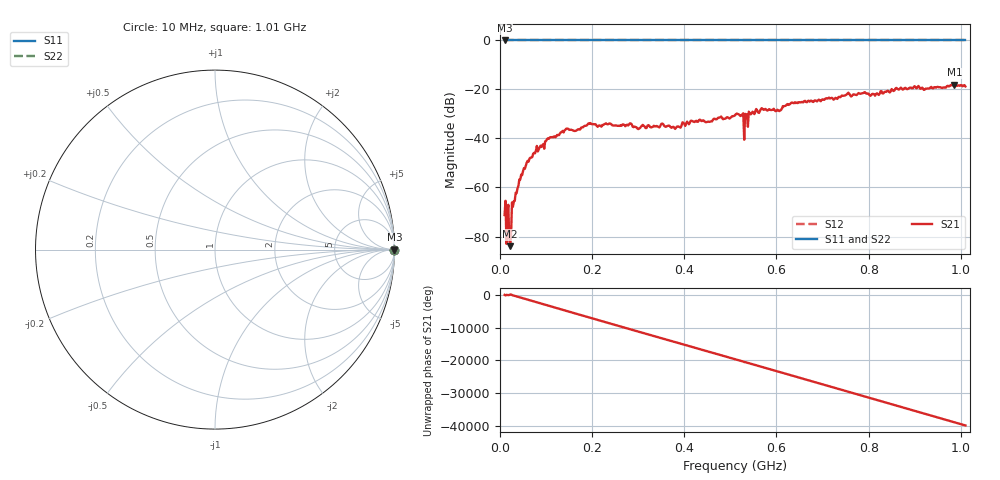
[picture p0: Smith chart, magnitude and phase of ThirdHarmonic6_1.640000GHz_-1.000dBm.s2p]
! 8/16/2025 7:37:16 PM
! C:\ANRITSUVNA\TEMP\TEMP.S2P
! CHANNEL.1
! TR.MEASUREMENT
! RAW.DATA
! RF.CORRECTION.OFF
! AVERAGING.OFF
! IF.BANDWIDTH: 5KHZ
! SWEEPTYPE:  FREQ.SWEEP(Linear)
! Reference Plane Port Info
! PORT:  PORT1  PORT2
! DISTANCE:  0  m  0  m
! TIME:  0  s  0  s
! PHASE.OFFSET:  0  deg.  0  deg.
! LOSS:  0  dB  0  dB
! REF.LOSS:  0  dB  0  dB
! REF.FREQ:  0  Hz  0  Hz
! Power Info
! POWER:  -20  dBm  -20  dBm
! EFF.POWER:  -20  dBm  -20  dBm
! SOURCE.ATTEN:  0  dB  0  dB
! TEST.ATTEN:  0  dB  0  dB
# GHZ S RI R 50.0
! FREQ.GHZ  S11RE  S11IM  S21RE  S21IM  S12RE  S12IM  S22RE  S22IM
!; PortSelection: Port_12
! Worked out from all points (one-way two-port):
!   501 points, 10 MHz to 1.01 GHz, reference 50 ohm
!   highest |S21| = -18.08 dB at 986 MHz (marker M1); lowest = -83.9 dB at 22 MHz (marker M2)
!   lowest |S11| = 0.0 dB at 10 MHz (marker M3)
!   |S11| at or under -10 dB: nowhere
!   |S22| runs from 0.0 to 0.0 dB; largest |S21 - S12| = 1.1
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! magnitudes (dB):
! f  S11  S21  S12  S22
! 10 MHz  0.0  -71.2  0.0  0.0
! 14 MHz  0.0  -83.0  0.0  0.0
! 18 MHz  0.0  -67.1  0.0  0.0
! 22 MHz  0.0  -83.9  0.0  0.0
! 24 MHz  0.0  -79.7  0.0  0.0
! 30 MHz  0.0  -65.6  0.0  0.0
! 46 MHz  0.0  -54.7  0.0  0.0
! 76 MHz  0.0  -46.1  0.0  0.0
! 144 MHz  0.0  -36.0  0.0  0.0
! 178 MHz  0.0  -35.5  0.0  0.0
! 344 MHz  0.0  -35.3  0.0  0.0
! 510 MHz  0.0  -30.6  0.0  0.0
! 524 MHz  0.0  -30.6  0.0  0.0
! 534 MHz  0.0  -30.2  0.0  0.0
! 536 MHz  0.0  -30.1  0.0  0.0
! 544 MHz  0.0  -30.2  0.0  0.0
! 570 MHz  0.0  -27.9  0.0  0.0
! 604 MHz  0.0  -28.6  0.0  0.0
! 678 MHz  0.0  -25.0  0.0  0.0
! 844 MHz  0.0  -20.9  0.0  0.0
! 986 MHz  0.0  -18.1  0.0  0.0
! 1.01 GHz  0.0  -18.8  0.0  0.0
